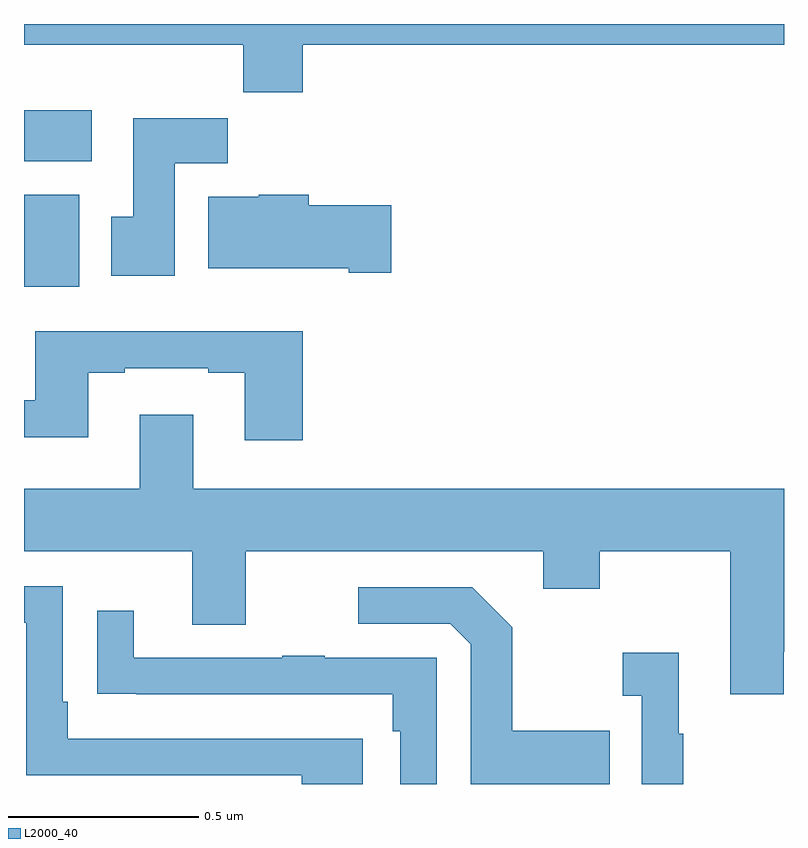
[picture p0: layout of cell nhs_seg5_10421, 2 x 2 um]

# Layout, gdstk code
import gdstk
lib = gdstk.Library(unit=1e-6, precision=1e-09)
def R(c, l, rs):  # rectangles x0, y0, x1, y1
    for r in rs: c.add(gdstk.rectangle(r[:2], r[2:], *l))
def P(c, l, *ps):  # polygons
    for p in ps: c.add(gdstk.Polygon(p, *l))
L2000_40 = (2000, 40)

nhs_seg5_10421 = lib.new_cell('nhs_seg5_10421')
R(nhs_seg5_10421, L2000_40, [(246,872.108,246.145,872.35), (246,872.438,246.178,872.572)])
P(nhs_seg5_10421, L2000_40, [(246.734,872.744),(248,872.744),(248,872.799),(246,872.799),(246,872.744),(246.577,872.744),(246.577,872.62),(246.734,872.62)],
  [(246.397,872.432),(246.536,872.432),(246.536,872.551),(246.287,872.551),(246.287,872.292),(246.23,872.292),(246.23,872.136),(246.397,872.136)],
  [(246.967,872.322),(246.749,872.322),(246.749,872.35),(246.618,872.35),(246.618,872.344),(246.485,872.344),(246.485,872.156),(246.854,872.156),(246.854,872.144),(246.967,872.144)],
  [(246.734,871.99),(246.029,871.99),(246.029,871.809),(246,871.809),(246,871.712),(246.169,871.712),(246.169,871.881),(246.265,871.881),(246.265,871.893),(246.485,871.893),(246.485,871.881),(246.581,871.881),(246.581,871.704),(246.734,871.704)],
  [(247.999,871.147),(248,871.147),(248,871.576),(246.445,871.576),(246.445,871.771),(246.305,871.771),(246.305,871.576),(246,871.576),(246,871.412),(246.443,871.412),(246.443,871.218),(246.583,871.218),(246.583,871.412),(247.367,871.412),(247.367,871.313),(247.515,871.313),(247.515,871.412),(247.859,871.412),(247.859,871.035),(247.999,871.035)],
  [(246.892,870.918),(246.115,870.918),(246.115,871.015),(246.102,871.015),(246.102,871.32),(246,871.32),(246,871.224),(246.006,871.224),(246.006,870.822),(246.731,870.822),(246.731,870.799),(246.892,870.799)],
  [(247.541,870.939),(247.285,870.939),(247.285,871.211),(247.179,871.317),(246.879,871.317),(246.879,871.221),(247.122,871.221),(247.176,871.167),(247.176,870.799),(247.541,870.799)],
  [(247.086,871.131),(246.791,871.131),(246.791,871.136),(246.679,871.136),(246.679,871.131),(246.289,871.131),(246.289,871.255),(246.193,871.255),(246.193,871.036),(246.295,871.036),(246.295,871.035),(246.97,871.035),(246.97,870.938),(246.99,870.938),(246.99,870.799),(247.086,870.799)],
  [(247.735,870.931),(247.723,870.931),(247.723,871.144),(247.575,871.144),(247.575,871.031),(247.626,871.031),(247.626,870.799),(247.735,870.799)])

lib.write_gds('nhs_seg5_10421.gds')
